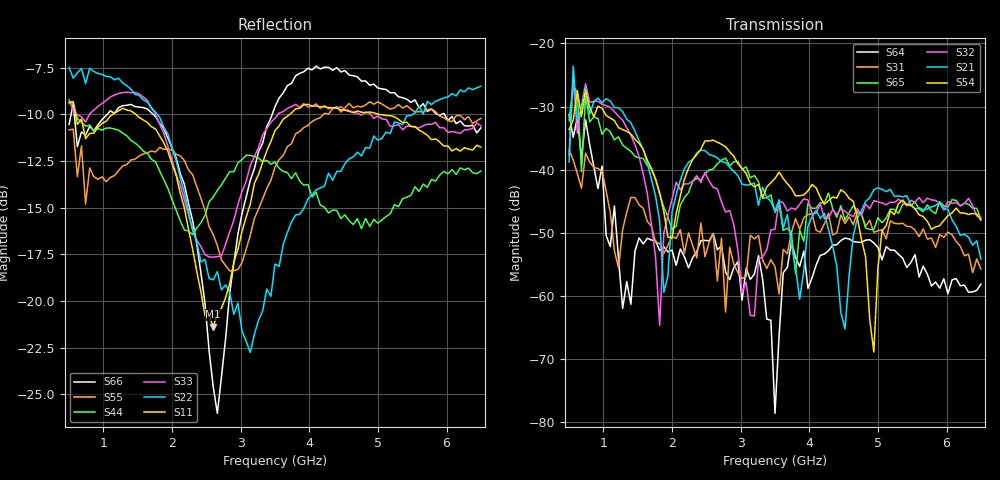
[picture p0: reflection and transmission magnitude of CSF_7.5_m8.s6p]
!Keysight Technologies,M9804A,MY58100912,A.14.10.03
!Date: Thursday, April 27, 2023 10:28:33
!Correction: S11(C  6-Port  )
!S12(C  6-Port  )
!S13(C  6-Port  )
!S14(C  6-Port  )
!S15(C  6-Port  )
!S16(C  6-Port  )
!S21(C  6-Port  )
!S22(C  6-Port  )
!S23(C  6-Port  )
!S24(C  6-Port  )
!S25(C  6-Port  )
!S26(C  6-Port  )
!S31(C  6-Port  )
!S32(C  6-Port  )
!S33(C  6-Port  )
!S34(C  6-Port  )
!S35(C  6-Port  )
!S36(C  6-Port  )
!S41(C  6-Port  )
!S42(C  6-Port  )
!S43(C  6-Port  )
!S44(C  6-Port  )
!S45(C  6-Port  )
!S46(C  6-Port  )
!S51(C  6-Port  )
!S52(C  6-Port  )
!S53(C  6-Port  )
!S54(C  6-Port  )
!S55(C  6-Port  )
!S56(C  6-Port  )
!S61(C  6-Port  )
!S62(C  6-Port  )
!S63(C  6-Port  )
!S64(C  6-Port  )
!S65(C  6-Port  )
!S66(C  6-Port  )
!S6P File: Measurement: :
# Hz S  RI  R 50
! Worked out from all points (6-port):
!   101 points, 500 MHz to 6.5 GHz, reference 50 ohm
!   strongest paths, dB at 500 MHz, 2 GHz, 3.5 GHz, 5 GHz, 6.5 GHz:
!     S54: -33.7, -50.8, -41.4, -55.5, -48.0
!     S21: -38.8, -46.7, -46.5, -42.9, -54.1
!     S32: -37.7, -44.6, -49.4, -45.1, -47.6
!     S65: -32.1, -49.4, -46.8, -47.6, -47.8
!     S31: -36.8, -50.6, -55.3, -49.7, -55.7
!     S64: -31.3, -52.7, -78.6, -52.3, -58.1
!   lowest |S11| = -21.4 dB at 2.6 GHz (marker M1), VSWR 1.19, Z = 42.4 + j2.3 ohm
!   |S11| at or under -10 dB: 593.3 MHz to 1.14 GHz (546.2 MHz wide, 63 % of centre); 1.469 GHz to 3.718 GHz (2.248 GHz wide, 86.7 % of centre); 4.995 GHz to end of sweep
